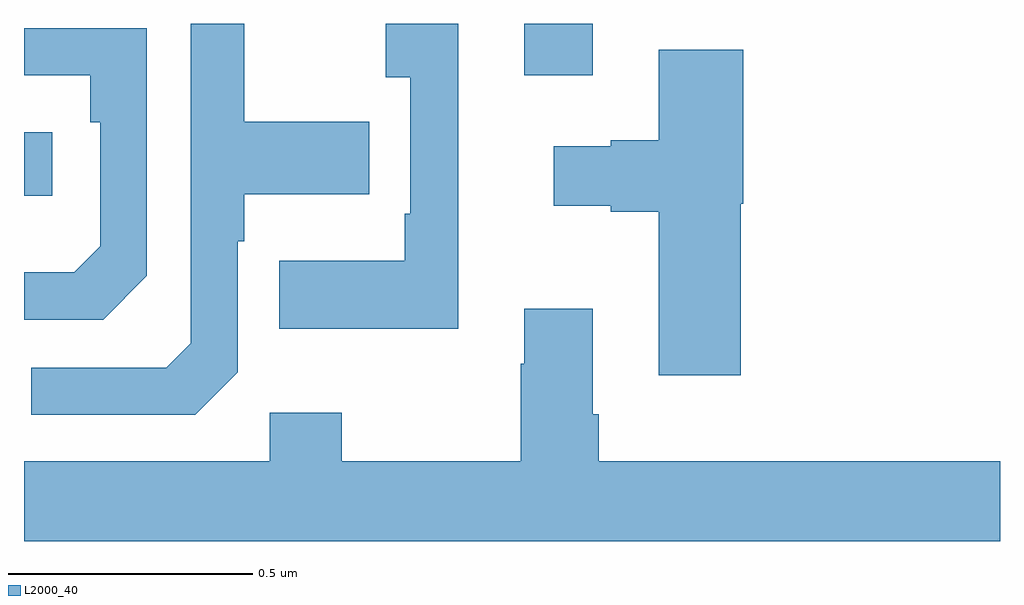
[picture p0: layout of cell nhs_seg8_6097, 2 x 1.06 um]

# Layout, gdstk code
import gdstk
lib = gdstk.Library(unit=1e-6, precision=1e-09)
def R(c, l, rs):  # rectangles x0, y0, x1, y1
    for r in rs: c.add(gdstk.rectangle(r[:2], r[2:], *l))
def P(c, l, *ps):  # polygons
    for p in ps: c.add(gdstk.Polygon(p, *l))
L2000_40 = (2000, 40)

nhs_seg8_6097 = lib.new_cell('nhs_seg8_6097')
R(nhs_seg8_6097, L2000_40, [(192,1110.548,192.058,1110.678), (193.025,1110.795,193.165,1110.9)])
P(nhs_seg8_6097, L2000_40, [(192.438,1110.186),(192.438,1110.455),(192.451,1110.455),(192.451,1110.551),(192.707,1110.551),(192.707,1110.699),(192.451,1110.699),(192.451,1110.9),(192.342,1110.9),(192.342,1110.246),(192.291,1110.195),(192.015,1110.195),(192.015,1110.099),(192.351,1110.099)],
  [(192.89,1110.9),(192.741,1110.9),(192.741,1110.791),(192.792,1110.791),(192.792,1110.511),(192.78,1110.511),(192.78,1110.415),(192.523,1110.415),(192.523,1110.275),(192.89,1110.275)],
  [(192.252,1110.384),(192.252,1110.891),(192,1110.891),(192,1110.795),(192.136,1110.795),(192.136,1110.698),(192.156,1110.698),(192.156,1110.444),(192.103,1110.391),(192,1110.391),(192,1110.294),(192.162,1110.294)],
  [(193.469,1110.531),(193.474,1110.531),(193.474,1110.847),(193.301,1110.847),(193.301,1110.662),(193.202,1110.662),(193.202,1110.649),(193.086,1110.649),(193.086,1110.527),(193.202,1110.527),(193.202,1110.515),(193.301,1110.515),(193.301,1110.18),(193.469,1110.18)],
  [(194,1110.004),(193.178,1110.004),(193.178,1110.1),(193.165,1110.1),(193.165,1110.316),(193.025,1110.316),(193.025,1110.203),(193.018,1110.203),(193.018,1110.004),(192.651,1110.004),(192.651,1110.103),(192.504,1110.103),(192.504,1110.004),(192,1110.004),(192,1109.84),(194,1109.84)])

lib.write_gds('nhs_seg8_6097.gds')
